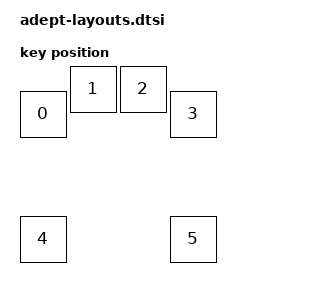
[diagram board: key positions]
#include <physical_layouts.dtsi>

/ {
    physical_layout0: physical_layout0 {
        compatible = "zmk,physical-layout";
        display-name = "default_layout";

        kscan = <&kscan0>;
        transform = <&matrix_transform>;

        keys  //                     w   h    x    y     rot    rx    ry
            = <&key_physical_attrs 100 100    0   50       0     0     0>
            , <&key_physical_attrs 100 100  100    0       0     0     0>
            , <&key_physical_attrs 100 100  200    0       0     0     0>
            , <&key_physical_attrs 100 100  300   50       0     0     0>
            , <&key_physical_attrs 100 100    0  300       0     0     0>
            , <&key_physical_attrs 100 100  300  300       0     0     0>
            ;
    };
};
